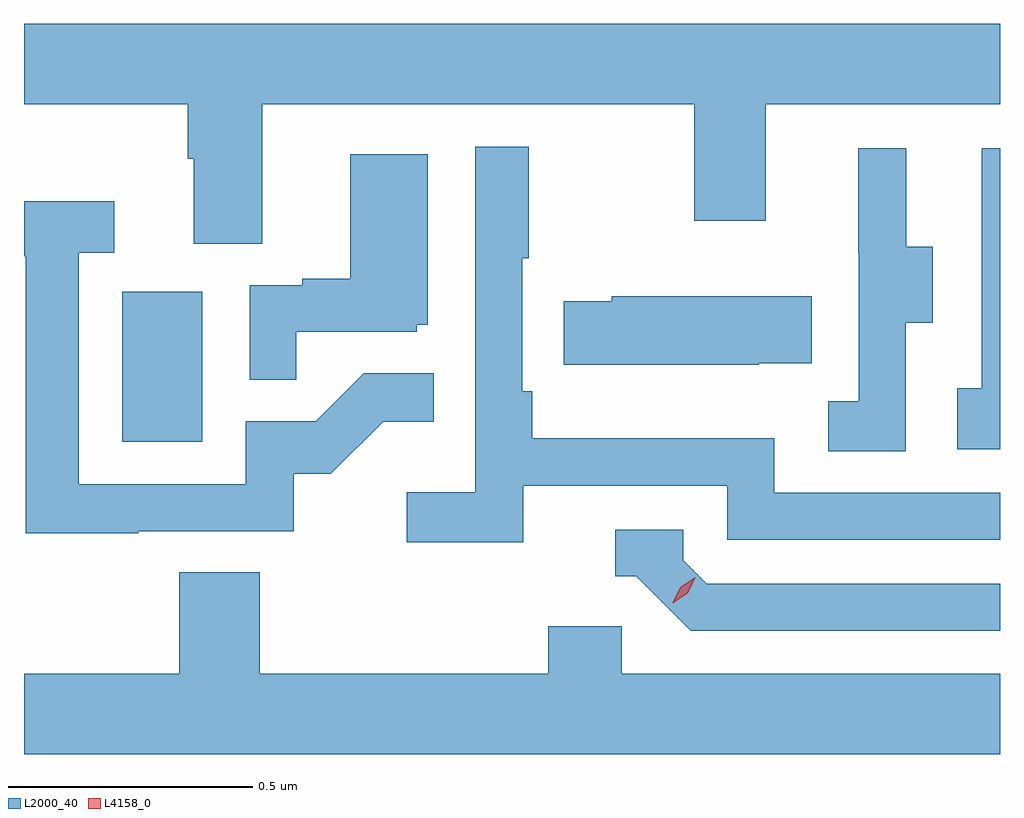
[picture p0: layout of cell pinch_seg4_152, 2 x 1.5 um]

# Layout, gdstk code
import gdstk
lib = gdstk.Library(unit=1e-6, precision=1e-09)
def R(c, l, rs):  # rectangles x0, y0, x1, y1
    for r in rs: c.add(gdstk.rectangle(r[:2], r[2:], *l))
def P(c, l, *ps):  # polygons
    for p in ps: c.add(gdstk.Polygon(p, *l))
L2000_40 = (2000, 40)
L4158_0 = (4158, 0)

pinch_seg4_152 = lib.new_cell('pinch_seg4_152')
R(pinch_seg4_152, L2000_40, [(1090.394,810.78,1090.558,811.087)])
P(pinch_seg4_152, L2000_40, [(1090.681,811.472),(1091.566,811.472),(1091.566,811.233),(1091.713,811.233),(1091.713,811.472),(1092.193,811.472),(1092.193,811.636),(1090.193,811.636),(1090.193,811.472),(1090.529,811.472),(1090.529,811.36),(1090.541,811.36),(1090.541,811.186),(1090.681,811.186)],
  [(1091.216,810.69),(1091.634,810.69),(1091.634,810.579),(1092.193,810.579),(1092.193,810.675),(1091.73,810.675),(1091.73,810.787),(1091.234,810.787),(1091.234,810.883),(1091.214,810.883),(1091.214,811.156),(1091.227,811.156),(1091.227,811.384),(1091.118,811.384),(1091.118,810.676),(1090.977,810.676),(1090.977,810.574),(1091.216,810.574)],
  [(1092.193,811.381),(1092.156,811.381),(1092.156,810.89),(1092.105,810.89),(1092.105,810.765),(1092.193,810.765)],
  [(1092,811.024),(1092.055,811.024),(1092.055,811.179),(1092.001,811.179),(1092.001,811.381),(1091.903,811.381),(1091.903,811.167),(1091.904,811.167),(1091.904,810.863),(1091.841,810.863),(1091.841,810.76),(1092,810.76)],
  [(1090.751,811.005),(1090.998,811.005),(1090.998,811.02),(1091.02,811.02),(1091.02,811.369),(1090.862,811.369),(1090.862,811.114),(1090.763,811.114),(1090.763,811.101),(1090.656,811.101),(1090.656,810.907),(1090.751,810.907)],
  [(1090.427,810.597),(1090.746,810.597),(1090.746,810.714),(1090.822,810.714),(1090.929,810.821),(1091.033,810.821),(1091.033,810.92),(1090.889,810.92),(1090.791,810.822),(1090.647,810.822),(1090.647,810.693),(1090.305,810.693),(1090.305,811.167),(1090.378,811.167),(1090.378,811.273),(1090.193,811.273),(1090.193,811.16),(1090.197,811.16),(1090.197,810.592),(1090.427,810.592)],
  [(1091.699,810.941),(1091.807,810.941),(1091.807,811.078),(1091.397,811.078),(1091.397,811.068),(1091.299,811.068),(1091.299,810.938),(1091.699,810.938)],
  [(1092.193,810.489),(1091.592,810.489),(1091.544,810.537),(1091.544,810.6),(1091.405,810.6),(1091.405,810.504),(1091.448,810.504),(1091.559,810.393),(1092.193,810.393)],
  [(1092.193,810.304),(1091.418,810.304),(1091.418,810.402),(1091.267,810.402),(1091.267,810.304),(1090.676,810.304),(1090.676,810.512),(1090.511,810.512),(1090.511,810.304),(1090.193,810.304),(1090.193,810.14),(1092.193,810.14)])
P(pinch_seg4_152, L4158_0, [(1091.522,810.45),(1091.522,810.45),(1091.538,810.482),(1091.568,810.502),(1091.569,810.502),(1091.569,810.502),(1091.553,810.469),(1091.523,810.45)])

lib.write_gds('pinch_seg4_152.gds')
